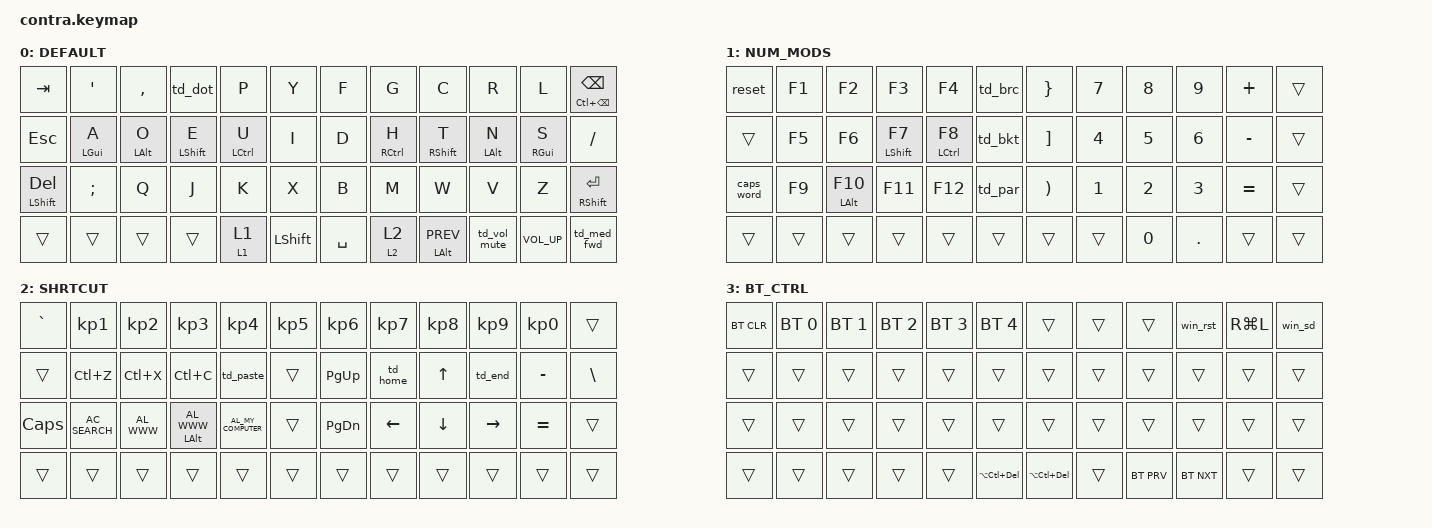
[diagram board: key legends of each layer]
/*
 * Copyright (c) 2021 The ZMK Contributors
 *
 * SPDX-License-Identifier: MIT
 */

#include <behaviors.dtsi>
#include <dt-bindings/zmk/keys.h>
#include <dt-bindings/zmk/bt.h>
#include <dt-bindings/zmk/keys.h>

#define DEFAULT  0
#define NUM_MODS 1
#define SHRTCUT  2
#define BT_CTRL  3

/ {
    conditional_layers {
        compatible = "zmk,conditional-layers";

        tri_layer {
            if-layers = <1 2>;
            then-layer = <3>;
        };
    };

    macros {
        ZMK_MACRO(xl_paste,
            wait-ms = <50>;
            tap-ms = <50>;
            bindings = <&kp LA(LC(V)) &kp V &kp ENTER>;
        )
        ZMK_MACRO(win_sd,
            wait-ms = <50>;
            tap-ms = <50>;
            bindings =
                <&kp LG(X)>,
                <&macro_wait_time 200>,
                <&kp U>,
                <&macro_wait_time 200>,
                <&kp U>,
                <&macro_wait_time 200>,
                <&kp U>;
        )
        ZMK_MACRO(win_rst,
            wait-ms = <50>;
            tap-ms = <50>;
            bindings = <&kp LG(X)>;
        )
        ZMK_MACRO(new_sent,
            wait-ms = <50>;
            tap-ms = <50>;
            bindings = <&kp DOT &kp SPACE &sk LEFT_SHIFT>;
        )
        ZMK_MACRO(sym_deg,
            wait-ms = <50>;
            tap-ms = <50>;
            bindings = <&macro_press   &kp LALT>
                     , <&macro_tap     &kp KP_N2 &kp KP_N4 &kp KP_N8>
                     , <&macro_release &kp LALT>;
        )
        ZMK_MACRO(sym_pm,
            wait-ms = <50>;
            tap-ms = <50>;
            bindings = <&macro_press   &kp LALT>
                     , <&macro_tap     &kp KP_N2 &kp KP_N4 &kp KP_N1>
                     , <&macro_release &kp LALT>;
        )
        ZMK_MACRO(txt_name,
            wait-ms = <50>;
            tap-ms = <50>;
            bindings = <&kp LS(T) &kp H &kp A &kp D &kp D &kp E &kp U &kp S>;
        )
        ZMK_MACRO(txt_lstnm,
            wait-ms = <50>;
            tap-ms = <50>;
            bindings = <&kp LS(K) &kp I &kp E &kp D &kp A &kp I &kp S &kp C &kp H>;
        )
        ZMK_MACRO(txt_adrs,
            wait-ms = <50>;
            tap-ms = <50>;
            bindings = <&kp N1 &kp N1 &kp N2 &kp N7 &kp SPACE &kp LS(A) &kp N &kp D &kp R &kp E &kp W &kp S &kp SPACE &kp LS(P) &kp E &kp A &kp K &kp SPACE &kp LS(D) &kp R>;
        )
        ZMK_MACRO(txt_eml,
            wait-ms = <50>;
            tap-ms = <50>;
            bindings = <&kp W &kp I &kp N &kp D &kp E &kp D &kp AT &kp K &kp I &kp E &kp D &kp A &kp I &kp S &kp C &kp H &kp DOT &kp U &kp S>;
        )
        ZMK_MACRO(dbl_brc,
            wait-ms = <50>;
            tap-ms = <50>;
            bindings = <&kp LBRC &kp RBRC &kp LEFT>;
        )
        ZMK_MACRO(dbl_bkt,
            wait-ms = <50>;
            tap-ms = <50>;
            bindings = <&kp LBKT &kp RBKT &kp LEFT>;
        )
       ZMK_MACRO(dbl_par,
            wait-ms = <50>;
            tap-ms = <50>;
            bindings = <&kp LPAR &kp RPAR &kp LEFT>;
        )
    };

    behaviors {
        hm: homerow_mods {
            compatible = "zmk,behavior-hold-tap";
            label = "HOMEROW_MODS";
            #binding-cells = <2>;
            tapping-term-ms = <150>;
            quick-tap-ms = <0>;
            flavor = "tap-preferred";
            bindings =
                <&kp>,
                <&kp>;
        };
        mo_tog: behavior_mo_tog {
            compatible = "zmk,behavior-hold-tap";
            label = "mo_tog";
            #binding-cells = <2>;
            flavor = "hold-preferred";
            tapping-term-ms = <200>;
            bindings = <&mo>, <&tog>;
        };
        td_paste: tap_dance_paste {
            compatible = "zmk,behavior-tap-dance";
            label = "TAP_DANCE_PASTE";
            #binding-cells = <0>;
            tapping-term-ms = <200>;
            bindings =
                <&kp LC(V)>,
                <&xl_paste>;
        };
        td_caps: td_caps {
            compatible = "zmk,behavior-tap-dance";
            label = "TAP_DANCE_CAPS";
            #binding-cells = <0>;
            tapping-term-ms = <200>;
            bindings =
                <&sk LSHFT>,
                <&caps_word>;
        };
        td_dot: tap_dance_dot_tap {
            compatible = "zmk,behavior-tap-dance";
            label = "TAP_DANCE_DOT_TAP";
            #binding-cells = <0>;
            tapping-term-ms = <200>;
            bindings =
                <&mt GT DOT>,
                <&new_sent>;
        };
        td_vol_mute: tap_dance_vol_mute {
            compatible = "zmk,behavior-tap-dance";
            label = "TAP_DANCE_VOL_MUTE";
            #binding-cells = <0>;
            tapping-term-ms = <200>;
            bindings =
                <&kp C_VOL_DN>,
                <&kp C_MUTE>;
        };
        td_med_fwd: tap_dance_med_fwd {
            compatible = "zmk,behavior-tap-dance";
            label = "TAP_DANCE_MED_FWD";
            #binding-cells = <0>;
            tapping-term-ms = <200>;
            bindings =
                <&mt RCTRL C_PP>,
                <&kp C_NEXT>;
        };
        td_home: tap_dance_home {
            compatible = "zmk,behavior-tap-dance";
            label = "TAP_DANCE_HOME";
            #binding-cells = <0>;
            tapping-term-ms = <200>;
            bindings =
                <&kp HOME>,
                <&kp LC(HOME)>;
        };
        td_end: tap_dance_end {
            compatible = "zmk,behavior-tap-dance";
            label = "TAP_DANCE_END";
            #binding-cells = <0>;
            tapping-term-ms = <200>;
            bindings =
                <&kp END>,
                <&kp LC(END)>;
        };
        td_prt_scn: tap_dance_prt_scn {
            compatible = "zmk,behavior-tap-dance";
            label = "TAP_DANCE_PRT_SCN";
            #binding-cells = <0>;
            tapping-term-ms = <200>;
            bindings =
                <&kp PSCRN>,
                <&kp LA(PSCRN)>;
        };
        td_brc: tap_dance_brace {
            compatible = "zmk,behavior-tap-dance";
            label = "TAP_DANCE_BRACE";
            #binding-cells = <0>;
            tapping-term-ms = <200>;
            bindings =
                <&kp LBRC>,
                <&dbl_brc>;
        };
        td_bkt: tap_dance_bkt {
            compatible = "zmk,behavior-tap-dance";
            label = "TAP_DANCE_BKT";
            #binding-cells = <0>;
            tapping-term-ms = <200>;
            bindings =
                <&kp LBKT>,
                <&dbl_bkt>;
        };
        td_par: tap_dance_par {
            compatible = "zmk,behavior-tap-dance";
            label = "TAP_DANCE_PAR";
            #binding-cells = <0>;
            tapping-term-ms = <200>;
            bindings =
                <&kp LPAR>,
                <&dbl_par>;
        };
    };

    combos {
        compatible = "zmk,combos";

        cmb_deg {
            timeout-ms = <50>;
            bindings = <&sym_deg>;
            key-positions = <1 2>;
            layers = <0>;
        };

        cmb_pm {
            timeout-ms = <50>;
            bindings = <&sym_pm>;
            key-positions = <10 22>;
            layers = <1>;
        };
    };

    keymap {
        compatible = "zmk,keymap";

        DEFAULT {
            bindings = <
  &kp TAB    &kp SQT   &kp COMMA      &td_dot        &kp P        &kp Y      &kp F      &kp G        &kp C           &kp R         &kp L         &mt LC(BSPC) BSPC
  &kp ESC      &hm LGUI A  &hm LALT O  &hm LSHFT E        &hm LCTRL U  &kp I      &kp D      &hm RCTRL H  &hm RSHFT T     &hm LALT N    &hm RGUI S    &kp FSLH
&mt LSHFT DEL  &kp SEMI  &kp Q             &kp J        &kp K        &kp X      &kp B      &kp M        &kp W           &kp V         &kp Z         &mt RSHFT ENTER
  &trans  &trans    &trans     &trans        &mo_tog 1 1  &kp LSHFT  &kp SPACE  &mo_tog 2 2  &mt LALT C_PREV &td_vol_mute  &kp C_VOL_UP  &td_med_fwd
            >;
        };

        NUM_MODS {
            bindings = <
    &reset  &kp F1        &kp F2        &kp F3        &kp F4  &td_brc  &kp RBRC        &kp N7        &kp N8        &kp N9      &kp PLUS    &trans
    &trans  &kp F5        &kp F6  &hm LSHFT F7  &hm LCTRL F8  &td_bkt  &kp RBKT  &kp NUMBER_4  &kp NUMBER_5  &kp NUMBER_6     &kp MINUS    &trans
&caps_word  &kp F9  &hm LALT F10       &kp F11       &kp F12  &td_par  &kp RPAR  &kp NUMBER_1  &kp NUMBER_2  &kp NUMBER_3     &kp EQUAL    &trans
    &trans  &trans        &trans        &trans        &trans   &trans    &trans        &trans  &kp NUMBER_0       &kp DOT  &trans  &trans
            >;
        };

        SHRTCUT {
            bindings = <
&kp GRAVE  &kp KP_NUMBER_1  &kp KP_NUMBER_2    &kp KP_NUMBER_3       &kp KP_NUMBER_4  &kp KP_NUMBER_5  &kp KP_NUMBER_6  &kp KP_NUMBER_7  &kp KP_NUMBER_8  &kp KP_NUMBER_9  &kp KP_NUMBER_0    &trans
   &trans      &kp LC(Z)        &kp LC(X)          &kp LC(C)             &td_paste           &trans        &kp PG_UP         &td_home           &kp UP          &td_end        &kp MINUS  &kp BSLH
 &kp CAPS  &kp C_AC_SEARCH     &kp C_AL_WWW  &mt LALT C_AL_WWW  &kp C_AL_MY_COMPUTER           &trans        &kp PG_DN         &kp LEFT         &kp DOWN        &kp RIGHT        &kp EQUAL    &trans
   &trans           &trans           &trans             &trans                &trans           &trans           &trans           &trans           &trans           &trans           &trans    &trans
            >;
        };

        BT_CTRL {
            bindings = <
&bt BT_CLR  &bt BT_SEL 0  &bt BT_SEL 1  &bt BT_SEL 2  &bt BT_SEL 3     &bt BT_SEL 4           &trans  &trans      &trans    &win_rst  &kp RG(L)  &win_sd
    &trans        &trans      &trans      &trans      &trans           &trans           &trans  &trans      &trans      &trans     &trans   &trans
    &trans        &trans        &trans        &trans        &trans           &trans           &trans  &trans      &trans      &trans     &trans   &trans
    &trans        &trans        &trans        &trans        &trans  &kp LA(LC(DEL))  &kp LA(LC(DEL))  &trans  &bt BT_PRV  &bt BT_NXT     &trans   &trans
            >;
        };
    };
};
